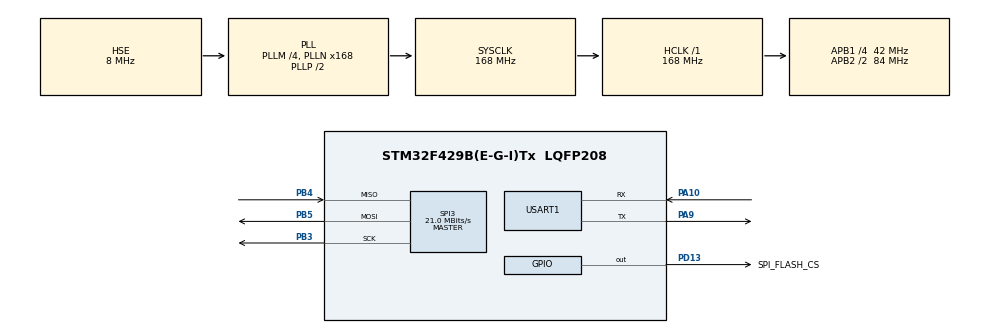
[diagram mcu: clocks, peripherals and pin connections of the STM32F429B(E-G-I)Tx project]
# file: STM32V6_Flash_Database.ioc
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Mcu.Family=STM32F4
Mcu.Name=STM32F429B(E-G-I)Tx
Mcu.Package=LQFP208
NVIC.PriorityGroup=NVIC_PRIORITYGROUP_4
PA10.Mode=Asynchronous
PA10.Signal=USART1_RX
PA13.Mode=Serial_Wire
PA13.Signal=SYS_JTMS-SWDIO
PA14.Mode=Serial_Wire
PA14.Signal=SYS_JTCK-SWCLK
PA9.Mode=Asynchronous
PA9.Signal=USART1_TX
PB3.Mode=Full_Duplex_Master
PB3.Signal=SPI3_SCK
PB4.Mode=Full_Duplex_Master
PB4.Signal=SPI3_MISO
PB5.Mode=Full_Duplex_Master
PB5.Signal=SPI3_MOSI
PD13.GPIO_Label=SPI_FLASH_CS
PD13.GPIO_Speed=GPIO_SPEED_FREQ_HIGH
PD13.PinState=GPIO_PIN_SET
PD13.Signal=GPIO_Output
PH0/OSC_IN.Mode=HSE-External-Oscillator
PH0/OSC_IN.Signal=RCC_OSC_IN
PH1/OSC_OUT.Mode=HSE-External-Oscillator
PH1/OSC_OUT.Signal=RCC_OSC_OUT
ProjectManager.HeapSize=0x200
ProjectManager.StackSize=0x400
ProjectManager.TargetToolchain=MDK-ARM V5.32
RCC.48MHZClocksFreq_Value=84000000
RCC.AHBFreq_Value=168000000
RCC.APB1CLKDivider=RCC_HCLK_DIV4
RCC.APB1Freq_Value=42000000
RCC.APB1TimFreq_Value=84000000
RCC.APB2CLKDivider=RCC_HCLK_DIV2
RCC.APB2Freq_Value=84000000
RCC.APB2TimFreq_Value=168000000
RCC.CortexFreq_Value=168000000
RCC.HCLKFreq_Value=168000000
RCC.HSE_VALUE=8000000
RCC.HSI_VALUE=16000000
RCC.LSE_VALUE=32768
RCC.PLLM=4
RCC.PLLN=168
RCC.PLLSourceVirtual=RCC_PLLSOURCE_HSE
RCC.SYSCLKFreq_VALUE=168000000
RCC.SYSCLKSource=RCC_SYSCLKSOURCE_PLLCLK
RCC.VCOOutputFreq_Value=336000000
SPI3.BaudRatePrescaler=SPI_BAUDRATEPRESCALER_2
SPI3.CalculateBaudRate=21.0 MBits/s
SPI3.Direction=SPI_DIRECTION_2LINES
SPI3.Mode=SPI_MODE_MASTER
SPI3.VirtualType=VM_MASTER
USART1.VirtualMode=VM_ASYNC
board=custom

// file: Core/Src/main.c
/* USER CODE BEGIN Header */
/**
  ******************************************************************************
  * @file           : main.c
  * @brief          : Main program body
  ******************************************************************************
  * @attention
  *
  * Copyright (c) 2024 STMicroelectronics.
  * All rights reserved.
  *
  * This software is licensed under terms that can be found in the LICENSE file
  * in the root directory of this software component.
  * If no LICENSE file comes with this software, it is provided AS-IS.
  *
  ******************************************************************************
  */
/* USER CODE END Header */
#include "main.h"
#include "spi.h"
#include "usart.h"
#include "gpio.h"

/* USER CODE BEGIN Includes */
#include "dbger.h"
#include "sfud.h"
#include "flashdb.h"
/* USER CODE END Includes */

/* USER CODE BEGIN PTD */
#ifdef FDB_USING_TIMESTAMP_64BIT
#define __PRITS "lld"
#else
#define __PRITS "d"
#endif

struct env_status {
    int temp;
    int humi;
};
/* USER CODE END PTD */

/* USER CODE BEGIN PV */
#define SFUD_DEMO_TEST_BUFFER_SIZE	256
static uint8_t sfud_demo_test_buf[SFUD_DEMO_TEST_BUFFER_SIZE];

#if !defined(SFUD_USING_SFDP)	&& !defined(SFUD_USING_FLASH_INFO_TABLE)
sfud_flash spi_flash_1 = {
        .name = SPI_FLASH_1_NAME,
        .spi.name = "SPI3",
        .chip = { "W25Q64JV", SFUD_MF_ID_WINBOND, 0x40, 0x17, 8L * 1024L * 1024L, SFUD_WM_PAGE_256B, 4096, 0x20 }
};
#endif

struct fdb_tsdb tsdb = { 0 };
/* USER CODE END PV */

void SystemClock_Config(void);
/* USER CODE BEGIN PFP */
static fdb_time_t get_time(void);
static void sfud_demo(uint32_t addr, size_t size, uint8_t *data);
static void tsdb_sample(fdb_tsdb_t tsdb);
static bool query_cb(fdb_tsl_t tsl, void *arg);
static bool query_by_time_cb(fdb_tsl_t tsl, void *arg);
static bool set_status_cb(fdb_tsl_t tsl, void *arg);
/* USER CODE END PFP */

int main(void)
{

  /* USER CODE BEGIN 1 */
	sfud_err sfud_sta;
  /* USER CODE END 1 */

  /* MCU Configuration--------------------------------------------------------*/

  /* Reset of all peripherals, Initializes the Flash interface and the Systick. */
  HAL_Init();

  /* Configure the system clock */
  SystemClock_Config();

  /* Initialize all configured peripherals */
  MX_GPIO_Init();
  MX_SPI3_Init();
  MX_USART1_UART_Init();
  /* USER CODE BEGIN 2 */
	LOG_DBG("\n\n\n\n\n\n\n\n\n\n\n\n\n\n\n\n\n\n\n\n\n\n\n\n");	// clear screen
	LOG_DBG("STM32V6 Flash database(FlashDB) demo...\n");

	#if !defined(SFUD_USING_SFDP)	&& !defined(SFUD_USING_FLASH_INFO_TABLE)
	sfud_sta = sfud_device_init(&spi_flash_1);
	#else
	sfud_sta = sfud_init();
	#endif
	if(sfud_sta != SFUD_SUCCESS) {
		LOG_ERR("sfud_device_init() err[%d]\r\n", sfud_sta);
		while(1);
	}

#if	0 	// test SFUD
	sfud_demo(0, sizeof(sfud_demo_test_buf), sfud_demo_test_buf);
#endif

#if 1		// test FlashDB
	fdb_err_t result;
	result = fdb_tsdb_init(&tsdb, "log", "fdb_tsdb1", get_time, 128, NULL);
	if (result != FDB_NO_ERR) {
		LOG_ERR("fdb_tsdb_init err[%d]\n", result);
		while(1);
	}
	// fdb_tsl_clean(&tsdb);		// clean database, must call after fdb_tsdb_init()
	uint32_t counts = get_time();
	fdb_tsdb_control(&tsdb, FDB_TSDB_CTRL_GET_LAST_TIME, &counts);
	tsdb_sample(&tsdb);
#endif
  /* USER CODE END 2 */

  /* Infinite loop */
  while (1)
  {

  }
}

void SystemClock_Config(void)
{
  RCC_OscInitTypeDef RCC_OscInitStruct = {0};
  RCC_ClkInitTypeDef RCC_ClkInitStruct = {0};

  /** Configure the main internal regulator output voltage
  */
  __HAL_RCC_PWR_CLK_ENABLE();
  __HAL_PWR_VOLTAGESCALING_CONFIG(PWR_REGULATOR_VOLTAGE_SCALE1);

  /** Initializes the RCC Oscillators according to the specified parameters
  * in the RCC_OscInitTypeDef structure.
  */
  RCC_OscInitStruct.OscillatorType = RCC_OSCILLATORTYPE_HSE;
  RCC_OscInitStruct.HSEState = RCC_HSE_ON;
  RCC_OscInitStruct.PLL.PLLState = RCC_PLL_ON;
  RCC_OscInitStruct.PLL.PLLSource = RCC_PLLSOURCE_HSE;
  RCC_OscInitStruct.PLL.PLLM = 4;
  RCC_OscInitStruct.PLL.PLLN = 168;
  RCC_OscInitStruct.PLL.PLLP = RCC_PLLP_DIV2;
  RCC_OscInitStruct.PLL.PLLQ = 4;
  if (HAL_RCC_OscConfig(&RCC_OscInitStruct) != HAL_OK)
  {
    Error_Handler();
  }

  /** Initializes the CPU, AHB and APB buses clocks
  */
  RCC_ClkInitStruct.ClockType = RCC_CLOCKTYPE_HCLK|RCC_CLOCKTYPE_SYSCLK
                              |RCC_CLOCKTYPE_PCLK1|RCC_CLOCKTYPE_PCLK2;
  RCC_ClkInitStruct.SYSCLKSource = RCC_SYSCLKSOURCE_PLLCLK;
  RCC_ClkInitStruct.AHBCLKDivider = RCC_SYSCLK_DIV1;
  RCC_ClkInitStruct.APB1CLKDivider = RCC_HCLK_DIV4;
  RCC_ClkInitStruct.APB2CLKDivider = RCC_HCLK_DIV2;

  if (HAL_RCC_ClockConfig(&RCC_ClkInitStruct, FLASH_LATENCY_5) != HAL_OK)
  {
    Error_Handler();
  }
}

/* USER CODE BEGIN 4 */
static void sfud_demo(uint32_t addr, size_t size, uint8_t *data)
{
    sfud_err result = SFUD_SUCCESS;
		#if !defined(SFUD_USING_SFDP)	&& !defined(SFUD_USING_FLASH_INFO_TABLE)
    const sfud_flash *flash = &spi_flash_1;
		#else
		const sfud_flash *flash = sfud_get_device_table() + 0;
		#endif
    size_t i;
    /* prepare write data */
    for (i = 0; i < size; i++) {
        data[i] = i;
    }
    /* erase test */
    result = sfud_erase(flash, addr, size);
    if (result == SFUD_SUCCESS) {
        LOG_DBG("Erase the %s flash data finish. Start from 0x%08X, size is %d.\r\n", flash->name, addr, size);
    } else {
        LOG_ERR("Erase the %s flash data failed.\r\n", flash->name);
        return;
    }
    /* write test */
    result = sfud_write(flash, addr, size, data);
    if (result == SFUD_SUCCESS) {
        LOG_DBG("Write the %s flash data finish. Start from 0x%08X, size is %d.\r\n", flash->name, addr, size);
    } else {
        LOG_ERR("Write the %s flash data failed.\r\n", flash->name);
        return;
    }
    /* read test */
    result = sfud_read(flash, addr, size, data);
    if (result == SFUD_SUCCESS) {
        LOG_DBG("Read the %s flash data success. Start from 0x%08X, size is %d. The data is:\r\n", flash->name, addr, size);
        LOG_DBG("Offset (h) 00 01 02 03 04 05 06 07 08 09 0A 0B 0C 0D 0E 0F\r\n");
        for (i = 0; i < size; i++) {
            if (i % 16 == 0) {
                LOG_DBG("[%08X] ", addr + i);
            }
            LOG_DBG("%02X ", data[i]);
            if (((i + 1) % 16 == 0) || i == size - 1) {
                LOG_DBG("\r\n");
            }
        }
        LOG_DBG("\r\n");
    } else {
        LOG_ERR("Read the %s flash data failed.\r\n", flash->name);
    }
    /* data check */
    for (i = 0; i < size; i++) {
        if (data[i] != i % 256) {
            LOG_ERR("Read and check write data has an error. Write the %s flash data failed.\r\n", flash->name);
			break;
        }
    }
    if (i == size) {
        LOG_DBG("The %s flash test is success.\r\n", flash->name);
    }
}

static void tsdb_sample(fdb_tsdb_t tsdb)
{
    struct fdb_blob blob;

    LOG_DBG("==================== tsdb_sample ====================\n");

    { /* APPEND new TSL (time series log) */
        struct env_status status;

        /* append new log to TSDB */
        status.temp = 36;
        status.humi = 85;
        fdb_tsl_append(tsdb, fdb_blob_make(&blob, &status, sizeof(status)));
        LOG_DBG("append the new status.temp (%d) and status.humi (%d)\n", status.temp, status.humi);

        status.temp = 38;
        status.humi = 90;
        fdb_tsl_append(tsdb, fdb_blob_make(&blob, &status, sizeof(status)));
        LOG_DBG("append the new status.temp (%d) and status.humi (%d)\n", status.temp, status.humi);
    }

    { /* QUERY the TSDB */
        /* query all TSL in TSDB by iterator */
        fdb_tsl_iter(tsdb, query_cb, tsdb);
    }

    { /* QUERY the TSDB by time */
        /* prepare query time (from 1970-01-01 00:00:00 to 2020-05-05 00:00:00) */
        struct tm tm_from = { .tm_year = 1970 - 1900, .tm_mon = 0, .tm_mday = 1, .tm_hour = 0, .tm_min = 0, .tm_sec = 0 };
        struct tm tm_to = { .tm_year = 2020 - 1900, .tm_mon = 4, .tm_mday = 5, .tm_hour = 0, .tm_min = 0, .tm_sec = 0 };
        time_t from_time = mktime(&tm_from), to_time = mktime(&tm_to);
        size_t count;
        /* query all TSL in TSDB by time */
        fdb_tsl_iter_by_time(tsdb, from_time, to_time, query_by_time_cb, tsdb);
        /* query all FDB_TSL_WRITE status TSL's count in TSDB by time */
        count = fdb_tsl_query_count(tsdb, from_time, to_time, FDB_TSL_WRITE);
        LOG_DBG("query count is: %zu\n", count);
    }

    { /* SET the TSL status */
        /* Change the TSL status by iterator or time iterator
         * set_status_cb: the change operation will in this callback
         *
         * NOTE: The actions to modify the state must be in order.
         *       like: FDB_TSL_WRITE -> FDB_TSL_USER_STATUS1 -> FDB_TSL_DELETED -> FDB_TSL_USER_STATUS2
         *       The intermediate states can also be ignored.
         *       such as: FDB_TSL_WRITE -> FDB_TSL_DELETED
         */
        fdb_tsl_iter(tsdb, set_status_cb, tsdb);
    }

    LOG_DBG("===========================================================\n");
}

static bool query_cb(fdb_tsl_t tsl, void *arg)
{
    struct fdb_blob blob;
    struct env_status status;
    fdb_tsdb_t db = arg;

    fdb_blob_read((fdb_db_t) db, fdb_tsl_to_blob(tsl, fdb_blob_make(&blob, &status, sizeof(status))));
    LOG_DBG("[query_cb] queried a TSL: time: %" __PRITS ", temp: %d, humi: %d\n", tsl->time, status.temp, status.humi);

    return false;
}

static bool query_by_time_cb(fdb_tsl_t tsl, void *arg)
{
    struct fdb_blob blob;
    struct env_status status;
    fdb_tsdb_t db = arg;

    fdb_blob_read((fdb_db_t) db, fdb_tsl_to_blob(tsl, fdb_blob_make(&blob, &status, sizeof(status))));
    LOG_DBG("[query_by_time_cb] queried a TSL: time: %" __PRITS ", temp: %d, humi: %d\n", tsl->time, status.temp, status.humi);

    return false;
}

static bool set_status_cb(fdb_tsl_t tsl, void *arg)
{
    fdb_tsdb_t db = arg;

    LOG_DBG("set the TSL (time %" __PRITS ") status from %d to %d\n", tsl->time, tsl->status, FDB_TSL_USER_STATUS1);
    fdb_tsl_set_status(db, tsl, FDB_TSL_USER_STATUS1);

    return false;
}

static fdb_time_t get_time(void)
{
	return HAL_GetTick() + 5*365*24*60*60;
}
/* USER CODE END 4 */

void Error_Handler(void)
{
  __disable_irq();
  while (1)
  {
  }
}
